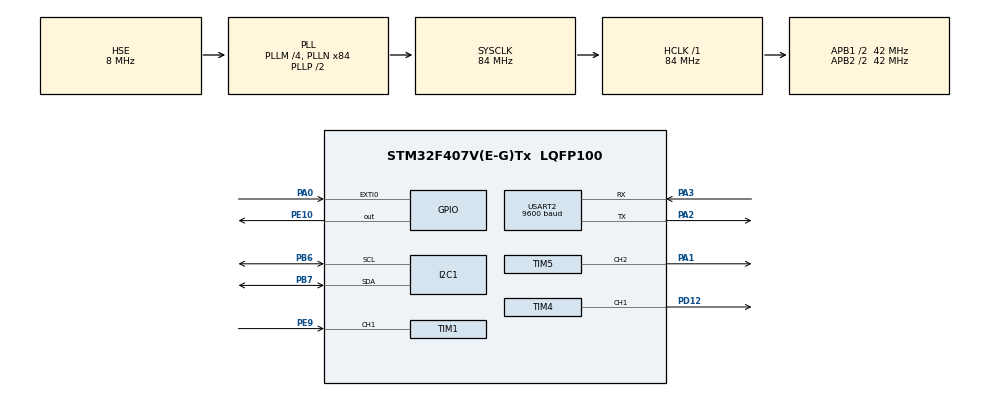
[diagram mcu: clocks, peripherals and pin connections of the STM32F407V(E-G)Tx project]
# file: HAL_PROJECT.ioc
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Mcu.Family=STM32F4
Mcu.Name=STM32F407V(E-G)Tx
Mcu.Package=LQFP100
NVIC.EXTI0_IRQn=true\:0\:0\:false\:false\:true\:true\:true
NVIC.PriorityGroup=NVIC_PRIORITYGROUP_4
NVIC.TIM1_CC_IRQn=true\:0\:0\:false\:false\:true\:true\:true
NVIC.TIM2_IRQn=true\:0\:0\:false\:false\:true\:true\:true
PA0-WKUP.Signal=GPXTI0
PA1.Signal=S_TIM5_CH2
PA2.Mode=Asynchronous
PA2.Signal=USART2_TX
PA3.Mode=Asynchronous
PA3.Signal=USART2_RX
PB6.Mode=I2C
PB6.Signal=I2C1_SCL
PB7.Mode=I2C
PB7.Signal=I2C1_SDA
PD12.Signal=S_TIM4_CH1
PE10.Signal=GPIO_Output
PE9.Signal=S_TIM1_CH1
PH0-OSC_IN.Mode=HSE-External-Oscillator
PH0-OSC_IN.Signal=RCC_OSC_IN
PH1-OSC_OUT.Mode=HSE-External-Oscillator
PH1-OSC_OUT.Signal=RCC_OSC_OUT
ProjectManager.HeapSize=0x200
ProjectManager.StackSize=0x400
ProjectManager.TargetToolchain=STM32CubeIDE
RCC.48MHZClocksFreq_Value=42000000
RCC.AHBFreq_Value=84000000
RCC.APB1CLKDivider=RCC_HCLK_DIV2
RCC.APB1Freq_Value=42000000
RCC.APB1TimFreq_Value=84000000
RCC.APB2CLKDivider=RCC_HCLK_DIV2
RCC.APB2Freq_Value=42000000
RCC.APB2TimFreq_Value=84000000
RCC.CortexFreq_Value=84000000
RCC.HCLKFreq_Value=84000000
RCC.HSE_VALUE=8000000
RCC.HSI_VALUE=16000000
RCC.LSE_VALUE=32768
RCC.PLLM=4
RCC.PLLN=84
RCC.PLLSourceVirtual=RCC_PLLSOURCE_HSE
RCC.SYSCLKFreq_VALUE=84000000
RCC.SYSCLKSource=RCC_SYSCLKSOURCE_PLLCLK
RCC.VCOOutputFreq_Value=168000000
SH.S_TIM1_CH1.0=TIM1_CH1,Input_Capture1_from_TI1
SH.S_TIM4_CH1.0=TIM4_CH1,PWM Generation1 CH1
SH.S_TIM5_CH2.0=TIM5_CH2,PWM Generation2 CH2
TIM1.Channel-Input_Capture1_from_TI1=TIM_CHANNEL_1
TIM1.Period=0xffff-1
TIM1.Prescaler=84-1
TIM2.Period=1
TIM2.Prescaler=83
TIM4.Channel-PWM\ Generation1\ CH1=TIM_CHANNEL_1
TIM4.Period=19999
TIM4.Prescaler=83
TIM5.Channel-PWM\ Generation2\ CH2=TIM_CHANNEL_2
TIM5.Period=255-1
TIM5.Prescaler=1291
USART2.BaudRate=9600
USART2.VirtualMode=VM_ASYNC
VP_TIM2_VS_ClockSourceINT.Mode=Internal
board=custom

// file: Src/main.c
/* USER CODE BEGIN Header */
/**
  ******************************************************************************
  * @file           : main.c
  * @brief          : Main program body
  ******************************************************************************
  * @attention
  *
  * <h2><center>&copy; Copyright (c) 2021 STMicroelectronics.
  * All rights reserved.</center></h2>
  *
  * This software component is licensed by ST under BSD 3-Clause license,
  * the "License"; You may not use this file except in compliance with the
  * License. You may obtain a copy of the License at:
  *                        opensource.org/licenses/BSD-3-Clause
  *
  ******************************************************************************
  */
/* USER CODE END Header */

#include "main.h"

/* USER CODE BEGIN Includes */
#include "MPU6050.h"

/* USER CODE END Includes */

/* USER CODE BEGIN PD */

/*                           MPU6050                     */
bool mpuInit=0;
float X_cal,Y_cal,Z_cal,A_Pitch,A_Roll,A_Z;
int sampleT=4;

uint32_t XRaw,YRaw,ZRaw;
/*                           HCSR04                      */

bool timeDone=0;
bool captureFirst=0;

uint32_t timeDistance=0;
uint32_t distance=0;

uint32_t microsecond=0;
uint32_t milisecond=0;
uint32_t second=0;

uint32_t targetTime=0;
uint32_t FirstValue=0;
uint32_t SecondValue=0;

/*                          UART Message                */
char message[150];
/*                          Systick Timer               */

uint32_t SystickMs=0;
uint32_t SystickSecond=0;

/*                          Game Play               */
bool foundTarget=0;
bool distanceFound=0;
bool slopeFound=0;
bool targetDegressFound=0;
bool targetDegreeFound=0;
bool targetDistanceFound=0;
bool newGame=0;
float target_X=0.00;        //Target Pitch Value
float target_Y=0.00;        //Target Roll Value
float targetDistance=0.00;  //Target Distance

float maxHeight=50.00;      //Maximum height value. This valus can be changed. HCSR-04 is a sensor don't work stabil.
                            //So this value has to be small as soon as possible. This value effect led brigtness.
float maxDifference=0.00;
float differentHeight=0.00;
int ledPulse=0;
int acceptableHeightDifference=2;  // For example your target distance is 18. When measured value equals 16 or 20, target found flag will be true. Because this value 2.
float PitchValue,RollValue;        //Measured values in the game.
float accaptableDegree=3.0;        //AccaptableAngle for target. Can be changed.
float differenceAngle=0.00;

/* Necessary time measurement value*/

uint32_t timeServo=0;
uint32_t timeLed=0;
uint32_t timeNow=0;
uint32_t timePrev=0;
uint32_t gameTimer=0;
uint32_t timeCount=0;

/* USER CODE END PD */

/* USER CODE BEGIN PM */
void HCSR04_ReadDistance();
void servoAct(uint32_t pulse);
void ledDrive(uint32_t pulse);
void getSlope();
void Write_To_Flash(uint32_t myData,uint32_t myAddress);
void sendDataviaUART();
void calibrationStage();
void firstOpenOfSystem();
void GameStart();
/* USER CODE END PM */

I2C_HandleTypeDef hi2c1;

TIM_HandleTypeDef htim1;
TIM_HandleTypeDef htim2;
TIM_HandleTypeDef htim4;
TIM_HandleTypeDef htim5;

UART_HandleTypeDef huart2;

void SystemClock_Config(void);
static void MX_GPIO_Init(void);
static void MX_I2C1_Init(void);
static void MX_TIM1_Init(void);
static void MX_TIM2_Init(void);
static void MX_TIM4_Init(void);
static void MX_TIM5_Init(void);
static void MX_USART2_UART_Init(void);
/* USER CODE BEGIN PFP */

//For new game starting.

void EXTI0_IRQHandler(void)
{
  /* USER CODE BEGIN EXTI0_IRQn 0 */
    newGame=1;
  /* USER CODE END EXTI0_IRQn 0 */
  HAL_GPIO_EXTI_IRQHandler(GPIO_PIN_0);
  /* USER CODE BEGIN EXTI0_IRQn 1 */

  /* USER CODE END EXTI0_IRQn 1 */
}

//Servo drive timer

void TIM2_IRQHandler(void)
{
  /* USER CODE BEGIN TIM2_IRQn 0 */
	timeCount++;
  /* USER CODE END TIM2_IRQn 0 */
  HAL_TIM_IRQHandler(&htim2);
  /* USER CODE BEGIN TIM2_IRQn 1 */

  /* USER CODE END TIM2_IRQn 1 */
}

//For HCSR-04 measurement. When Echo pin is high, timer1 is starting to measure time. Then, when echo pin is low, timer1 stop to measure time.
//This measured time value give us distance.

void HAL_TIM_IC_CaptureCallback(TIM_HandleTypeDef *htim)
{
	if (htim->Channel == HAL_TIM_ACTIVE_CHANNEL_1)
	{
		if (captureFirst==0)
		{

			FirstValue = HAL_TIM_ReadCapturedValue(htim, TIM_CHANNEL_1);
			captureFirst = 1;

			__HAL_TIM_SET_CAPTUREPOLARITY(htim, TIM_CHANNEL_1, TIM_INPUTCHANNELPOLARITY_FALLING);
		}

		else if (captureFirst==1)
		{
			SecondValue = HAL_TIM_ReadCapturedValue(htim, TIM_CHANNEL_1);
			__HAL_TIM_SET_COUNTER(htim, 0);

			if (SecondValue > FirstValue)
			{
				timeDistance = SecondValue-FirstValue;
			}

			else if (FirstValue > SecondValue)
			{
				timeDistance = (255 - FirstValue) + SecondValue;
			}

			distance = timeDistance * .034/2;
			if(distance>0 && distance<400)
			{
			   captureFirst = 0; // set it back to false
			   distanceFound=1;
			}
			else
			{
				captureFirst = 0; // set it back to false
				distanceFound=0;
				distance=0;

			}
			// set polarity to rising edge
			__HAL_TIM_SET_CAPTUREPOLARITY(htim, TIM_CHANNEL_1, TIM_INPUTCHANNELPOLARITY_RISING);
			__HAL_TIM_DISABLE_IT(&htim1, TIM_IT_CC1);
		}
	}
}

void Write_To_Flash(uint32_t myData,uint32_t myAddress)
{

      HAL_FLASH_Unlock();
      FLASH_Erase_Sector(FLASH_SECTOR_11, FLASH_VOLTAGE_RANGE_3);
      HAL_FLASH_Program(FLASH_TYPEPROGRAM_WORD, myAddress, myData);
      HAL_FLASH_Lock();

}

uint32_t Read_From_Flash(uint32_t myAddress)
{
	uint32_t readData;
	readData=*(uint32_t*)myAddress;

    return readData;
}

//Delay function for HCSR-04. For starting HCSR-04, first you have to pull trigger pin logic-1. After 10us, pull logic-0.
//Then active Timer input capture and measure distance.

void delay(uint32_t us)
{
     __HAL_TIM_SET_COUNTER(&htim1,0);
     while(__HAL_TIM_GET_COUNTER(&htim1)<us);
}

void HCSR04_ReadDistance (void)
{
	 HAL_GPIO_WritePin(TRIG_PORT, TRIG_PIN, GPIO_PIN_RESET);  // pull the TRIG pin low
     delay(1000);

     timeCount=0;
     HAL_GPIO_WritePin(TRIG_PORT, TRIG_PIN, GPIO_PIN_SET);  // pull the TRIG pin HIGH
	 delay(10);
	 HAL_GPIO_WritePin(TRIG_PORT, TRIG_PIN, GPIO_PIN_RESET);  // pull the TRIG pin low
	 __HAL_TIM_ENABLE_IT(&htim1, TIM_IT_CC1);

}

void servoAct(uint32_t pulse)
{
	   HAL_TIM_PWM_Start(&htim4, TIM_CHANNEL_1);

	   __HAL_TIM_SetCompare(&htim4,TIM_CHANNEL_1, 500+pulse*40);

}

/*This functions are my driving servo motor library. I generate my pwm signal thanks to timer values.*/

//Servo pin configuration
void servoGpioInit()
{

	 GPIO_InitTypeDef GPIO_InitStruct = {0};

	  __HAL_RCC_GPIOH_CLK_ENABLE();
	  __HAL_RCC_GPIOD_CLK_ENABLE();

	  HAL_GPIO_WritePin(GPIOD, GPIO_PIN_12, GPIO_PIN_RESET);

	  GPIO_InitStruct.Pin = GPIO_PIN_12;
	  GPIO_InitStruct.Mode = GPIO_MODE_OUTPUT_PP;
	  GPIO_InitStruct.Pull = GPIO_NOPULL;
	  GPIO_InitStruct.Speed = GPIO_SPEED_FREQ_LOW;
	  HAL_GPIO_Init(GPIOD, &GPIO_InitStruct);
}

// Necessary timer calculation and move servo motor desired angle.
void myServoMove(int degree)
{

	 servoGpioInit();

	 HAL_TIM_Base_Start_IT(&htim2);

	 int value=(int)(25+(100*degree/180));
	 if(value>125)
		 value=125;
	 for(int i=0;i<50;i++)
	 {
		      timeCount=0;

              HAL_GPIO_WritePin(GPIOD, GPIO_PIN_12, SET);
			  while(timeCount <value );

			  HAL_GPIO_WritePin(GPIOD, GPIO_PIN_12, GPIO_PIN_RESET);
			  while(timeCount<1000);
			  timeCount=0;

	 }

     HAL_TIM_Base_Stop_IT(&htim2);
     HAL_GPIO_DeInit(GPIOD, GPIO_PIN_12);

}

//Led PWM

void ledDrive(uint32_t pulse)
{

	   __HAL_TIM_SET_COMPARE(&htim5,TIM_CHANNEL_2,pulse);

}

//Send message buffer via uart to PC

void sendDataviaUART()
{
     HAL_UART_Transmit(&huart2, (uint8_t *)message, strlen(message),150);

}

//This function is necessary for calibrating MPU6050 sensor.

void calibrationStage()
{
	  Write_To_Flash(0xFFFFFFFF,CALIB_OK);
	  HAL_Delay(100);

	  if(Read_From_Flash(CALIB_OK) == 0xFFFFFFFF)
	  {

		  MPU6050Calibration(5);
		  X_cal=X_calib();
		  Y_cal=Y_calib();
		  Z_cal=Z_calib();

		  Write_To_Flash((uint32_t)X_cal , X_CALIB);
		  Write_To_Flash((uint32_t)Y_cal , Y_CALIB);
		  Write_To_Flash((uint32_t)Z_cal , Z_CALIB);
		  Write_To_Flash(sampleT,CALIB_OK);

	  }

	  else
	  {
	      setSampleTime(Read_From_Flash(CALIB_OK));
	      X_cal=Read_From_Flash(X_CALIB);
	      Y_cal=Read_From_Flash(Y_CALIB);
	      Z_cal=Read_From_Flash(Z_CALIB);
	      setCalibrationValue(X_cal, Y_cal, Z_cal);

	  }

}

void firstOpenOfSystem()
{
		sprintf(message,"You've got 5 seconds to take first position your system\r");
		sendDataviaUART();

		SystickSecond=0;

		while(SystickSecond<5)
		{
			if(MPU6050Init())
			{
				getAllDatas();
            }

			else
			{
				sprintf(message,"MPU6050 Error...\n");
				sendDataviaUART();

			}

		}

		bool keepDone=false;
		SystickMs=0;

		sprintf(message,"\r\nBeginnig target values will measured....\r\n");
		sendDataviaUART();
		sprintf(message,"Do not change position when new message arrives you...\r");
		sendDataviaUART();

		while(!keepDone)
		{
			 targetDegressFound=0;
			 if(MPU6050Init())
			 {
				    getAllDatas();
					target_X=getPitch();
					target_Y=getRoll();
					targetDegressFound=1;

			  }

			  if(SystickMs>100)
			  {
				SystickMs=0;
				HCSR04_ReadDistance();
				if(distanceFound && distance<maxHeight)
				{
					distanceFound=0;
					targetDistance=distance;
					if((maxHeight-targetDistance)>targetDistance)
						maxDifference=maxHeight-targetDistance;
					else
						maxDifference=targetDistance;
					if(targetDegressFound)
						keepDone=1;

				}
			  }
		}

		sprintf(message,"Calculation Okay. Target_Pitch:%0.4f,Target_Roll:%0.4f,Target_Distance:%d \n\r",target_X,target_Y,(int)targetDistance);
		sendDataviaUART();
		sprintf(message,"Let it go the system...\r\n");
		sendDataviaUART();
}

void GameStart()
{
	SystickSecond=0;
	sprintf(message,"Game is starting...\r");
	sendDataviaUART();

	SystickMs=0;

	foundTarget=0;
	targetDistanceFound=0;
	targetDegreeFound=0;
	timeServo=0;
	timeLed=0;
	distance=0;
    int totalAngle=0;
    float rollOnly=0.00;
    float pitchOnly=0.0;
    while(!foundTarget)
    {
    	targetDegreeFound=0;
    	targetDistanceFound=0;

    	if(MPU6050Init())
    	{
    		totalAngle=0;
    		getAllDatas();
    		PitchValue=getPitch();
    	    RollValue=getRoll();

            if(RollValue>45 &&target_Y<30 )
            {
            	rollOnly=(65-RollValue+target_Y);
            }
            else if(RollValue>45 &&target_Y>30 )
            {
                rollOnly=abs(RollValue-target_Y);
             }
            else if(RollValue<45 && target_Y<30 )
            {
            	rollOnly=abs(RollValue-target_Y);
            }
            else if(RollValue<45 &&target_Y>30 )
            {
            	rollOnly=(65+RollValue-target_Y);
             }

            if(PitchValue>-45 &&target_X<-45 )
            {
            	pitchOnly=(65-PitchValue+target_X);
            }
            else if(PitchValue>-45 &&target_X>-45 )
            {
            	pitchOnly=abs(PitchValue-target_X);
             }
            else if(PitchValue<-45 && target_X<-45 )
            {
            	pitchOnly=abs(PitchValue-target_X);
            }
            else if(PitchValue<-45 &&target_X>-45 )
            {
            	pitchOnly=(65+PitchValue-target_X);
             }

    	    differenceAngle=sqrt( pitchOnly*pitchOnly +rollOnly*rollOnly);

    	    if( differenceAngle  <accaptableDegree)
    	    {   targetDegreeFound=1; differenceAngle=0; servoAct((uint32_t)differenceAngle); }
    	    else
    	    {
    	    	targetDegreeFound=0;
    	    	if(differenceAngle>50) differenceAngle=50;
    	    }
    	    if(timeServo>700)
    	    {
    	       timeServo=0;
    	       if(!targetDegreeFound)
    	          servoAct((uint32_t)differenceAngle);
    	    }

        }

		if(SystickMs>400)
		{
		  SystickMs=0;
		  HCSR04_ReadDistance();
		  HAL_Delay(1);
		  if(distanceFound && distance<maxHeight )
		  {

			 distanceFound=0;
			 differentHeight=abs(distance-targetDistance);
			 if(differentHeight>maxDifference)
				differentHeight=maxDifference;

			 if(differentHeight<=acceptableHeightDifference)
			 {
				 differentHeight=targetDistance;
				 targetDistanceFound=1;
				 ledDrive(0);
			 }

			 else
				 targetDistanceFound=0;

			 if(timeLed>700)
			 {
				 timeLed=0;
				 if(!targetDistanceFound)
				 {
					 ledPulse=255*differentHeight/maxDifference;
					 ledDrive(ledPulse);
				 }
			 }
		   }
		   distanceFound=0;

		}

		if(targetDistanceFound && targetDegreeFound)
		{
			foundTarget=1;
			sprintf(message,"\nTarget_Pitch:%0.4f, Target_Roll:%0.4f,Target_Distance:%d ",target_X,target_Y,(int)targetDistance);
			sendDataviaUART();
			sprintf(message,"\nPitch:%0.4f,Roll:%0.4f,Distance:%d",PitchValue,RollValue,distance);
			sendDataviaUART();

		}
		if(gameTimer>700)
		{
			gameTimer=0;
			sprintf(message,"\nTarget_Pitch:%0.4f, Target_Roll:%0.4f,Target_Distance:%d ",target_X,target_Y,(int)targetDistance);
			sendDataviaUART();
			sprintf(message,"\nPitch:%0.4f,Roll:%0.4f,Distance:%d",PitchValue,RollValue,distance);
			sendDataviaUART();

		}
        while(SystickMs %5 !=0);

    }

	sprintf(message,"\n\rGame finish Succesfully. Congratulations\r");
	sendDataviaUART();
	foundTarget=0;
	targetDistanceFound=0;
	targetDegreeFound=0;

}

void waitNewPosition()
{

	SystickSecond=0;
	sprintf(message,"Please change position and wait 10 seconds...\n");
	HAL_UART_Transmit(&huart2, (uint8_t *)message, strlen(message), 1000);
	while(SystickSecond<10)
	{

		if(MPU6050Init())
		{
			getAllDatas();

		}
	}

}

void testLed()
{
	for(int i=0;i<255;i+=10)
	{
		ledDrive(i);
		HAL_Delay(20);

	}
}

void testServo()
{
	for(int i=0;i<50;i+=1)
	{
		servoAct(i);
		HAL_Delay(20);

	}

}
void waitNewGame()
{
	sprintf(message,"For new game, press the user button...\r");
	sendDataviaUART();

	while(!newGame);
	newGame=0;

}
/* USER CODE END PFP */

int main(void)
{

  /* MCU Configuration--------------------------------------------------------*/

  /* Reset of all peripherals, Initializes the Flash interface and the Systick. */
  HAL_Init();

  /* Configure the system clock */
  SystemClock_Config();

  /* Initialize all configured peripherals */
  MX_GPIO_Init();
  MX_I2C1_Init();
  MX_TIM1_Init();
  MX_TIM2_Init();
  MX_TIM4_Init();
  MX_TIM5_Init();
  MX_USART2_UART_Init();
  /* USER CODE BEGIN 2 */

  HAL_TIM_IC_Start(&htim1, TIM_CHANNEL_1);
  HAL_TIM_PWM_Start(&htim4, TIM_CHANNEL_1);
  HAL_TIM_PWM_Start(&htim5, TIM_CHANNEL_2);

  testLed();
  testServo();

  getAccelerationRawData();
  while(!MPU6050Init())
  {

	  sprintf(message,"MPU6050 Error.Check wire connections...\n");
	  sendDataviaUART();
	  HAL_Delay(3000);

  }

  sprintf(message,"Wait for initialization and calibration\n");
  sendDataviaUART();
  MPU6050Initialization();
  calibrationStage();

  /* USER CODE END 2 */

  /* Infinite loop */
  while (1)
  {

    /* USER CODE BEGIN 3 */
	firstOpenOfSystem();
	waitNewPosition();
	GameStart();
    waitNewGame();

  }
  /* USER CODE END 3 */
}

void SystemClock_Config(void)
{
  RCC_OscInitTypeDef RCC_OscInitStruct = {0};
  RCC_ClkInitTypeDef RCC_ClkInitStruct = {0};

  /** Configure the main internal regulator output voltage
  */
  __HAL_RCC_PWR_CLK_ENABLE();
  __HAL_PWR_VOLTAGESCALING_CONFIG(PWR_REGULATOR_VOLTAGE_SCALE1);
  /** Initializes the CPU, AHB and APB busses clocks
  */
  RCC_OscInitStruct.OscillatorType = RCC_OSCILLATORTYPE_HSE;
  RCC_OscInitStruct.HSEState = RCC_HSE_ON;
  RCC_OscInitStruct.PLL.PLLState = RCC_PLL_ON;
  RCC_OscInitStruct.PLL.PLLSource = RCC_PLLSOURCE_HSE;
  RCC_OscInitStruct.PLL.PLLM = 4;
  RCC_OscInitStruct.PLL.PLLN = 84;
  RCC_OscInitStruct.PLL.PLLP = RCC_PLLP_DIV2;
  RCC_OscInitStruct.PLL.PLLQ = 4;
  if (HAL_RCC_OscConfig(&RCC_OscInitStruct) != HAL_OK)
  {
    Error_Handler();
  }
  /** Initializes the CPU, AHB and APB busses clocks
  */
  RCC_ClkInitStruct.ClockType = RCC_CLOCKTYPE_HCLK|RCC_CLOCKTYPE_SYSCLK
                              |RCC_CLOCKTYPE_PCLK1|RCC_CLOCKTYPE_PCLK2;
  RCC_ClkInitStruct.SYSCLKSource = RCC_SYSCLKSOURCE_PLLCLK;
  RCC_ClkInitStruct.AHBCLKDivider = RCC_SYSCLK_DIV1;
  RCC_ClkInitStruct.APB1CLKDivider = RCC_HCLK_DIV2;
  RCC_ClkInitStruct.APB2CLKDivider = RCC_HCLK_DIV2;

  if (HAL_RCC_ClockConfig(&RCC_ClkInitStruct, FLASH_LATENCY_2) != HAL_OK)
  {
    Error_Handler();
  }
}

static void MX_I2C1_Init(void)
{

  hi2c1.Instance = I2C1;
  hi2c1.Init.ClockSpeed = 100000;
  hi2c1.Init.DutyCycle = I2C_DUTYCYCLE_2;
  hi2c1.Init.OwnAddress1 = 0;
  hi2c1.Init.AddressingMode = I2C_ADDRESSINGMODE_7BIT;
  hi2c1.Init.DualAddressMode = I2C_DUALADDRESS_DISABLE;
  hi2c1.Init.OwnAddress2 = 0;
  hi2c1.Init.GeneralCallMode = I2C_GENERALCALL_DISABLE;
  hi2c1.Init.NoStretchMode = I2C_NOSTRETCH_DISABLE;
  if (HAL_I2C_Init(&hi2c1) != HAL_OK)
  {
    Error_Handler();
  }

}

static void MX_TIM1_Init(void)
{

  TIM_MasterConfigTypeDef sMasterConfig = {0};
  TIM_IC_InitTypeDef sConfigIC = {0};

  htim1.Instance = TIM1;
  htim1.Init.Prescaler = 84-1;
  htim1.Init.CounterMode = TIM_COUNTERMODE_UP;
  htim1.Init.Period = 0xffff-1;
  htim1.Init.ClockDivision = TIM_CLOCKDIVISION_DIV1;
  htim1.Init.RepetitionCounter = 0;
  htim1.Init.AutoReloadPreload = TIM_AUTORELOAD_PRELOAD_DISABLE;
  if (HAL_TIM_IC_Init(&htim1) != HAL_OK)
  {
    Error_Handler();
  }
  sMasterConfig.MasterOutputTrigger = TIM_TRGO_RESET;
  sMasterConfig.MasterSlaveMode = TIM_MASTERSLAVEMODE_DISABLE;
  if (HAL_TIMEx_MasterConfigSynchronization(&htim1, &sMasterConfig) != HAL_OK)
  {
    Error_Handler();
  }
  sConfigIC.ICPolarity = TIM_INPUTCHANNELPOLARITY_RISING;
  sConfigIC.ICSelection = TIM_ICSELECTION_DIRECTTI;
  sConfigIC.ICPrescaler = TIM_ICPSC_DIV1;
  sConfigIC.ICFilter = 0;
  if (HAL_TIM_IC_ConfigChannel(&htim1, &sConfigIC, TIM_CHANNEL_1) != HAL_OK)
  {
    Error_Handler();
  }

}

static void MX_TIM2_Init(void)
{

  TIM_ClockConfigTypeDef sClockSourceConfig = {0};
  TIM_MasterConfigTypeDef sMasterConfig = {0};

  htim2.Instance = TIM2;
  htim2.Init.Prescaler = 83;
  htim2.Init.CounterMode = TIM_COUNTERMODE_UP;
  htim2.Init.Period = 1;
  htim2.Init.ClockDivision = TIM_CLOCKDIVISION_DIV1;
  htim2.Init.AutoReloadPreload = TIM_AUTORELOAD_PRELOAD_DISABLE;
  if (HAL_TIM_Base_Init(&htim2) != HAL_OK)
  {
    Error_Handler();
  }
  sClockSourceConfig.ClockSource = TIM_CLOCKSOURCE_INTERNAL;
  if (HAL_TIM_ConfigClockSource(&htim2, &sClockSourceConfig) != HAL_OK)
  {
    Error_Handler();
  }
  sMasterConfig.MasterOutputTrigger = TIM_TRGO_RESET;
  sMasterConfig.MasterSlaveMode = TIM_MASTERSLAVEMODE_DISABLE;
  if (HAL_TIMEx_MasterConfigSynchronization(&htim2, &sMasterConfig) != HAL_OK)
  {
    Error_Handler();
  }

}

static void MX_TIM4_Init(void)
{

  TIM_MasterConfigTypeDef sMasterConfig = {0};
  TIM_OC_InitTypeDef sConfigOC = {0};

  htim4.Instance = TIM4;
  htim4.Init.Prescaler = 83;
  htim4.Init.CounterMode = TIM_COUNTERMODE_UP;
  htim4.Init.Period = 19999;
  htim4.Init.ClockDivision = TIM_CLOCKDIVISION_DIV1;
  htim4.Init.AutoReloadPreload = TIM_AUTORELOAD_PRELOAD_DISABLE;
  if (HAL_TIM_PWM_Init(&htim4) != HAL_OK)
  {
    Error_Handler();
  }
  sMasterConfig.MasterOutputTrigger = TIM_TRGO_RESET;
  sMasterConfig.MasterSlaveMode = TIM_MASTERSLAVEMODE_DISABLE;
  if (HAL_TIMEx_MasterConfigSynchronization(&htim4, &sMasterConfig) != HAL_OK)
  {
    Error_Handler();
  }
  sConfigOC.OCMode = TIM_OCMODE_PWM1;
  sConfigOC.Pulse = 0;
  sConfigOC.OCPolarity = TIM_OCPOLARITY_HIGH;
  sConfigOC.OCFastMode = TIM_OCFAST_DISABLE;
  if (HAL_TIM_PWM_ConfigChannel(&htim4, &sConfigOC, TIM_CHANNEL_1) != HAL_OK)
  {
    Error_Handler();
  }
  HAL_TIM_MspPostInit(&htim4);

}

static void MX_TIM5_Init(void)
{

  TIM_MasterConfigTypeDef sMasterConfig = {0};
  TIM_OC_InitTypeDef sConfigOC = {0};

  htim5.Instance = TIM5;
  htim5.Init.Prescaler = 1291;
  htim5.Init.CounterMode = TIM_COUNTERMODE_UP;
  htim5.Init.Period = 255-1;
  htim5.Init.ClockDivision = TIM_CLOCKDIVISION_DIV1;
  htim5.Init.AutoReloadPreload = TIM_AUTORELOAD_PRELOAD_DISABLE;
  if (HAL_TIM_PWM_Init(&htim5) != HAL_OK)
  {
    Error_Handler();
  }
  sMasterConfig.MasterOutputTrigger = TIM_TRGO_RESET;
  sMasterConfig.MasterSlaveMode = TIM_MASTERSLAVEMODE_DISABLE;
  if (HAL_TIMEx_MasterConfigSynchronization(&htim5, &sMasterConfig) != HAL_OK)
  {
    Error_Handler();
  }
  sConfigOC.OCMode = TIM_OCMODE_PWM1;
  sConfigOC.Pulse = 0;
  sConfigOC.OCPolarity = TIM_OCPOLARITY_HIGH;
  sConfigOC.OCFastMode = TIM_OCFAST_DISABLE;
  if (HAL_TIM_PWM_ConfigChannel(&htim5, &sConfigOC, TIM_CHANNEL_2) != HAL_OK)
  {
    Error_Handler();
  }
  HAL_TIM_MspPostInit(&htim5);

}

static void MX_USART2_UART_Init(void)
{

  huart2.Instance = USART2;
  huart2.Init.BaudRate = 9600;
  huart2.Init.WordLength = UART_WORDLENGTH_8B;
  huart2.Init.StopBits = UART_STOPBITS_1;
  huart2.Init.Parity = UART_PARITY_NONE;
  huart2.Init.Mode = UART_MODE_TX_RX;
  huart2.Init.HwFlowCtl = UART_HWCONTROL_NONE;
  huart2.Init.OverSampling = UART_OVERSAMPLING_16;
  if (HAL_UART_Init(&huart2) != HAL_OK)
  {
    Error_Handler();
  }

}

static void MX_GPIO_Init(void)
{
  GPIO_InitTypeDef GPIO_InitStruct = {0};

  /* GPIO Ports Clock Enable */
  __HAL_RCC_GPIOH_CLK_ENABLE();
  __HAL_RCC_GPIOA_CLK_ENABLE();
  __HAL_RCC_GPIOE_CLK_ENABLE();
  __HAL_RCC_GPIOD_CLK_ENABLE();
  __HAL_RCC_GPIOB_CLK_ENABLE();

  /*Configure GPIO pin Output Level */
  HAL_GPIO_WritePin(GPIOE, GPIO_PIN_10, GPIO_PIN_RESET);

  /*Configure GPIO pin : PA0 */
  GPIO_InitStruct.Pin = GPIO_PIN_0;
  GPIO_InitStruct.Mode = GPIO_MODE_IT_RISING;
  GPIO_InitStruct.Pull = GPIO_NOPULL;
  HAL_GPIO_Init(GPIOA, &GPIO_InitStruct);

  /*Configure GPIO pin : PE10 */
  GPIO_InitStruct.Pin = GPIO_PIN_10;
  GPIO_InitStruct.Mode = GPIO_MODE_OUTPUT_PP;
  GPIO_InitStruct.Pull = GPIO_NOPULL;
  GPIO_InitStruct.Speed = GPIO_SPEED_FREQ_LOW;
  HAL_GPIO_Init(GPIOE, &GPIO_InitStruct);

  /* EXTI interrupt init*/
  HAL_NVIC_SetPriority(EXTI0_IRQn, 0, 0);
  HAL_NVIC_EnableIRQ(EXTI0_IRQn);

}

void Error_Handler(void)
{
}

/************************ (C) COPYRIGHT STMicroelectronics *****END OF FILE****/
